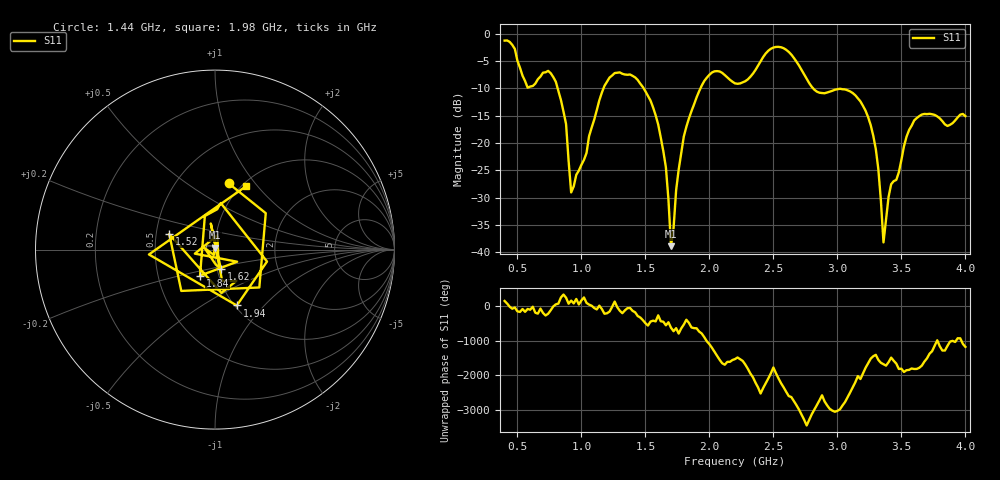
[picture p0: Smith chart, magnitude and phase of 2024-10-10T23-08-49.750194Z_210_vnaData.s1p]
! Created with skrf (http://scikit-rf.org).
# Hz S RI R 50.0
!freq ReS11 ImS11
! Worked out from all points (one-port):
!   181 points, 400 MHz to 4 GHz, reference 50 ohm
!   lowest |S11| = -38.9 dB at 1.7 GHz (marker M1), VSWR 1.02, Z = 49.8 + j1.12 ohm
!   |S11| at or under -10 dB: 814 MHz to 1.173 GHz (358.9 MHz wide, 36.1 % of centre); 1.486 GHz to 1.931 GHz (444.5 MHz wide, 26 % of centre); 2.81 GHz to end of sweep
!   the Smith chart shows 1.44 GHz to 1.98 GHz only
!   S11 on the Smith chart (normalised r, x): 1.44 GHz: 0.87, +0.75; 1.52 GHz: 0.59, +0.11; 1.62 GHz: 1.04, -0.23; 1.84 GHz: 0.81, -0.24; 1.94 GHz: 1.02, -0.72; 1.98 GHz: 1.05, +0.88
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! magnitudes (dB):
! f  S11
! 400 MHz  -1.3
! 580 MHz  -9.9
! 760 MHz  -7.2
! 860 MHz  -14.3
! 880 MHz  -16.5
! 920 MHz  -29.0
! 1.18 GHz  -9.6
! 1.3 GHz  -7.1
! 1.44 GHz  -8.5
! 1.52 GHz  -11.4
! 1.62 GHz  -19.0
! 1.66 GHz  -24.4
! 1.7 GHz  -38.9
! 1.76 GHz  -24.9
! 1.84 GHz  -15.5
! 1.94 GHz  -9.5
! 1.98 GHz  -8.1
! 2.2 GHz  -9.1
! 2.5 GHz  -2.6
! 2.66 GHz  -4.5
! 2.84 GHz  -10.6
! 3.1 GHz  -10.6
! 3.28 GHz  -18.7
! 3.32 GHz  -24.8
! 3.36 GHz  -38.2
! 3.42 GHz  -27.5
! 3.56 GHz  -17.6
! 4 GHz  -15.1
